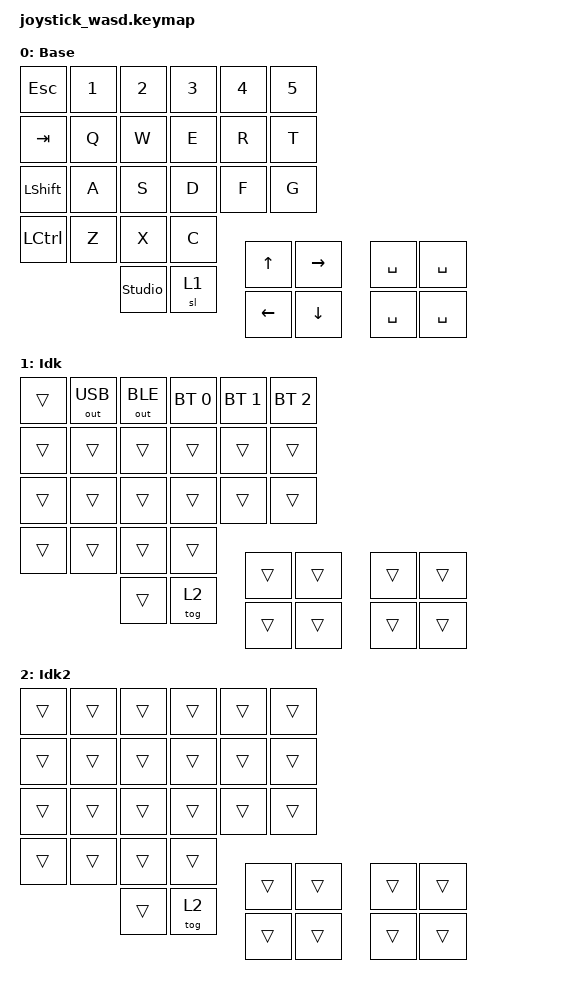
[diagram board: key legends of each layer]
#include <behaviors.dtsi>
#include <dt-bindings/zmk/keys.h>
#include <dt-bindings/zmk/bt.h>
#include <dt-bindings/zmk/outputs.h>

&sl {
    release-after-ms = <5000>;
};

/ {
    keymap {
        compatible = "zmk,keymap";
        layer_0 {
            display-name = "Base";
            bindings = <
                &kp ESC         &kp N1          &kp N2          &kp N3          &kp N4          &kp N5
                &kp TAB         &kp Q           &kp W           &kp E           &kp R           &kp T
                &kp LSHFT       &kp A           &kp S           &kp D           &kp F           &kp G
                &kp LCTRL       &kp Z           &kp X           &kp C           &sl 1           &studio_unlock
                &kp UP          &kp RIGHT       &kp LEFT        &kp DOWN
                &kp SPACE       &kp SPACE       &kp SPACE       &kp SPACE
            >;
        };
        layer_1 {
            display-name = "Idk";
            bindings = <
                &trans          &out OUT_USB    &out OUT_BLE    &bt BT_SEL 0    &bt BT_SEL 1    &bt BT_SEL 2
                &trans          &trans          &trans          &trans          &trans          &trans
                &trans          &trans          &trans          &trans          &trans          &trans
                &trans          &trans          &trans          &trans          &tog 2          &trans
                &trans          &trans          &trans          &trans
                &trans          &trans          &trans          &trans
            >;
        };
        layer_2 {
            display-name = "Idk2";
            bindings = <
                &trans          &trans          &trans          &trans          &trans          &trans
                &trans          &trans          &trans          &trans          &trans          &trans
                &trans          &trans          &trans          &trans          &trans          &trans
                &trans          &trans          &trans          &trans          &tog 2          &trans
                &trans          &trans          &trans          &trans
                &trans          &trans          &trans          &trans
            >;
        };
    };
 };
